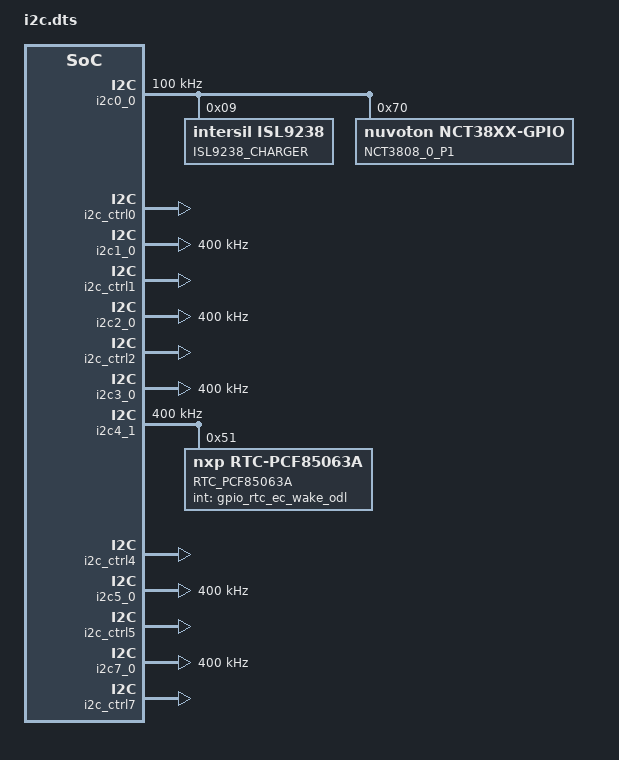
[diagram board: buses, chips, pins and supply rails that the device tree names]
/* Copyright 2021 The Chromium OS Authors. All rights reserved.
 * Use of this source code is governed by a BSD-style license that can be
 * found in the LICENSE file.
 */

/ {
	aliases {
		i2c-0 = &i2c0_0;
		i2c-1 = &i2c1_0;
		i2c-2 = &i2c2_0;
		i2c-3 = &i2c3_0;
		i2c-4 = &i2c4_1;
		i2c-5 = &i2c5_0;
		i2c-7 = &i2c7_0;
	};

	named-i2c-ports {
		compatible = "named-i2c-ports";

		i2c_power: power {
			i2c-port = <&i2c0_0>;
			enum-name = "I2C_PORT_POWER";
		};
		battery {
			i2c-port = <&i2c0_0>;
			remote-port = <0>;
			enum-name = "I2C_PORT_BATTERY";
		};
		virtual-battery {
			i2c-port = <&i2c0_0>;
			enum-name = "I2C_PORT_VIRTUAL_BATTERY";
		};
		charger {
			i2c-port = <&i2c0_0>;
			enum-name = "I2C_PORT_CHARGER";
		};
		i2c_tcpc0: tcpc0 {
			i2c-port = <&i2c1_0>;
			enum-name = "I2C_PORT_TCPC0";
		};
		i2c_tcpc1: tcpc1 {
			i2c-port = <&i2c2_0>;
			enum-name = "I2C_PORT_TCPC1";
		};
		rtc {
			i2c-port = <&i2c4_1>;
			enum-name = "I2C_PORT_RTC";
		};
		i2c_eeprom: eeprom {
			i2c-port = <&i2c5_0>;
			enum-name = "I2C_PORT_EEPROM";
		};
		i2c_sensor: sensor {
			i2c-port = <&i2c7_0>;
			enum-name = "I2C_PORT_SENSOR";
		};
		accel {
			i2c-port = <&i2c7_0>;
			enum-name = "I2C_PORT_ACCEL";
		};
	};

	named-ioexes {
		compatible = "named-ioexes";
		fake0 {
			gpios = <&ioex_port0 0 GPIO_OUT_LOW>;
			enum-name = "IOEX_BOARD_ID_DET0";
			label = "IOEX_FAKE0";
		};
	};
};

&i2c0_0 {
	label = "I2C_POWER";
	status = "okay";
	clock-frequency = <I2C_BITRATE_STANDARD>;

	isl9238: isl9238@9 {
		compatible = "intersil,isl9238";
		reg = <0x09>;
		label = "ISL9238_CHARGER";
	};

	nct3808_0_P1:nct3808_0_P1@70 {
		#address-cells = <1>;
		#size-cells = <0>;
		compatible = "nuvoton,nct38xx-gpio";
		reg = <0x70>;
		label = "NCT3808_0_P1";
		ioex_port0:gpio@0 {
			compatible = "nuvoton,nct38xx-gpio-port";
			reg = <0x0>;
			label = "NCT3808_0_P1_GPIO0";
			gpio-controller;
			#gpio-cells = <2>;
			ngpios = <8>;
			pin_mask = <0xdc>;
			pinmux_mask = <0xff>;
		};
	};
};

&i2c_ctrl0 {
	status = "okay";
};

&i2c1_0 {
	label = "I2C_USB_C0_PD";
	status = "okay";
	/*
	 * TODO(b/200280341): PS8805 SPI ROM access
	 *
	 * The PS8805 supports 1 MHz during normal operation, but only
	 * 400 Khz during firmware updates. The I2C passthru commands don't
	 * currently support changing the I2C frequency or notifying the EC
	 * that a programming operation is going to start.  Lower the clock
	 * rate to 400 kHz for all accesses.
	 */
	clock-frequency = <I2C_BITRATE_FAST>;
};

&i2c_ctrl1 {
	status = "okay";
};

&i2c2_0 {
	label = "I2C_USB_C1_PD";
	status = "okay";
	/* TODO(b/200280341): PS8805 SPI ROM access */
	clock-frequency = <I2C_BITRATE_FAST>;
};

&i2c_ctrl2 {
	status = "okay";
};

&i2c3_0 {
	/* Not used as no WLC connected */
	clock-frequency = <I2C_BITRATE_FAST>;
};

&i2c4_1 {
	label = "I2C_RTC";
	status = "okay";
	clock-frequency = <I2C_BITRATE_FAST>;

	pcf85063a: pcf85063a@51 {
		compatible = "nxp,rtc-pcf85063a";
		reg = <0x51>;
		label = "RTC_PCF85063A";
		int-gpios = <&gpio_rtc_ec_wake_odl>;
	};
};

&i2c_ctrl4 {
	status = "okay";
};

&i2c5_0 {
	label = "I2C_EEPROM";
	status = "okay";
	clock-frequency = <I2C_BITRATE_FAST>;
};

&i2c_ctrl5 {
	status = "okay";
};

&i2c7_0 {
	label = "I2C_SENSOR";
	status = "okay";
	clock-frequency = <I2C_BITRATE_FAST>;
};

&i2c_ctrl7 {
	status = "okay";
};
